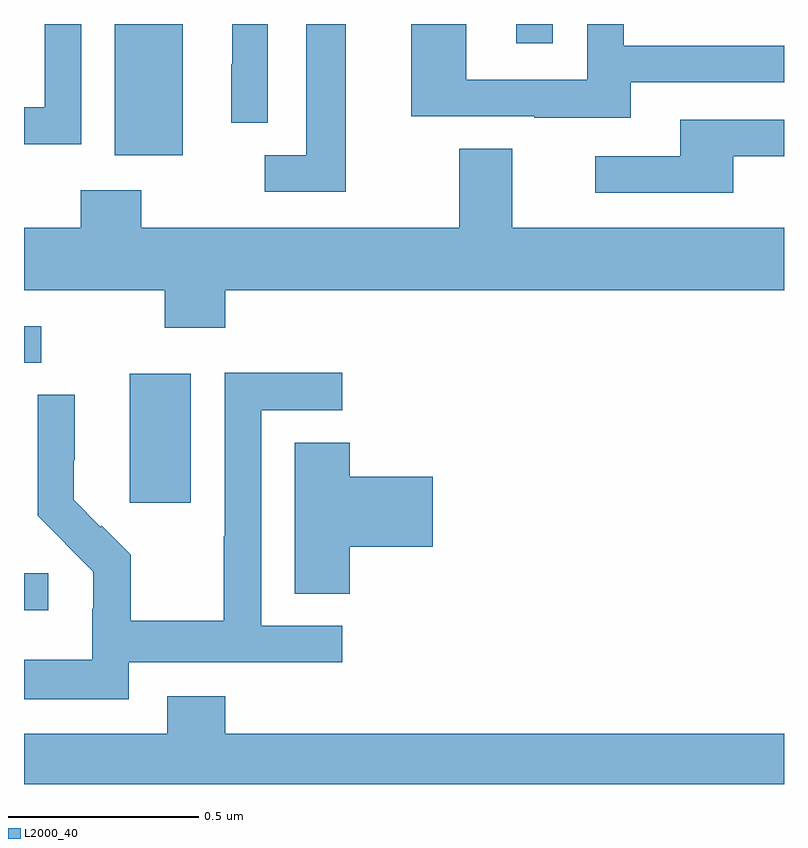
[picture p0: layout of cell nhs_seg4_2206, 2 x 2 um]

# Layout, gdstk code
import gdstk
lib = gdstk.Library(unit=1e-6, precision=1e-09)
def R(c, l, rs):  # rectangles x0, y0, x1, y1
    for r in rs: c.add(gdstk.rectangle(r[:2], r[2:], *l))
def P(c, l, *ps):  # polygons
    for p in ps: c.add(gdstk.Polygon(p, *l))
L2000_40 = (2000, 40)

nhs_seg4_2206 = lib.new_cell('nhs_seg4_2206')
R(nhs_seg4_2206, L2000_40, [(138,749.357,138.064,749.454), (138.278,749.64,138.439,749.98), (138,750.009,138.046,750.105), (138.239,750.554,138.418,750.9), (139.295,750.849,139.392,750.9)])
P(nhs_seg4_2206, L2000_40, [(138.642,750.9),(138.548,750.9),(138.548,750.794),(138.546,750.794),(138.546,750.64),(138.642,750.64)],
  [(138.15,750.9),(138.054,750.9),(138.054,750.681),(138,750.681),(138,750.583),(138.15,750.583)],
  [(139.597,750.747),(140,750.747),(140,750.843),(139.578,750.843),(139.578,750.9),(139.482,750.9),(139.482,750.753),(139.164,750.753),(139.164,750.9),(139.019,750.9),(139.019,750.657),(139.343,750.657),(139.343,750.653),(139.597,750.653)],
  [(138.847,750.9),(138.743,750.9),(138.743,750.555),(138.633,750.555),(138.633,750.459),(138.847,750.459)],
  [(139.867,750.552),(140,750.552),(140,750.648),(139.727,750.648),(139.727,750.552),(139.503,750.552),(139.503,750.456),(139.867,750.456)],
  [(138.53,750.2),(140,750.2),(140,750.364),(139.285,750.364),(139.285,750.572),(139.145,750.572),(139.145,750.364),(138.309,750.364),(138.309,750.463),(138.149,750.463),(138.149,750.364),(138,750.364),(138,750.2),(138.37,750.2),(138.37,750.101),(138.53,750.101)],
  [(138.276,749.22),(138.838,749.22),(138.838,749.316),(138.624,749.316),(138.624,749.883),(138.838,749.883),(138.838,749.982),(138.528,749.982),(138.528,749.552),(138.526,749.552),(138.526,749.329),(138.281,749.329),(138.281,749.503),(138.204,749.58),(138.201,749.577),(138.131,749.648),(138.131,749.752),(138.133,749.752),(138.133,749.924),(138.036,749.924),(138.036,749.606),(138.109,749.533),(138.108,749.532),(138.182,749.458),(138.182,749.361),(138.18,749.361),(138.18,749.227),(138,749.227),(138,749.123),(138.276,749.123)],
  [(138.857,749.525),(139.075,749.525),(139.075,749.708),(138.857,749.708),(138.857,749.798),(138.713,749.798),(138.713,749.401),(138.857,749.401)],
  [(140,749.032),(138.53,749.032),(138.53,749.131),(138.377,749.131),(138.377,749.032),(138,749.032),(138,748.9),(140,748.9)])

lib.write_gds('nhs_seg4_2206.gds')
